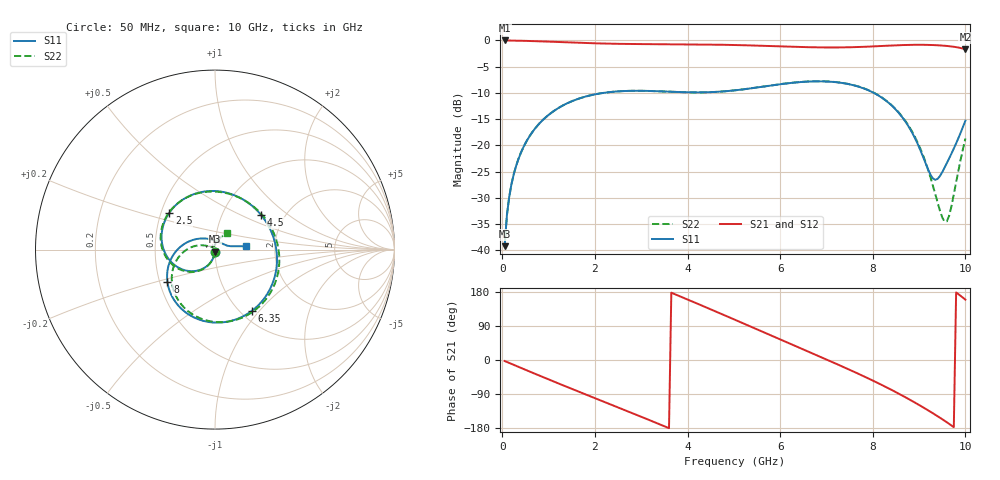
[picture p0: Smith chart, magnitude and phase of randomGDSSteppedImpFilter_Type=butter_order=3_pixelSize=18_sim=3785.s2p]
! freq	dB(S11)	phase(S11)	dB(S12)	phase(S12)
!  dB(S21)	phase(S21)	dB(S22)	phase(S22)
!S-par simulation data
#  GHz  S  DB  R 50
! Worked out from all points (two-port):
!   200 points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, 50 MHz to 10 GHz, reference 50 ohm
!   highest |S21| = -0.01 dB at 50 MHz (marker M1); lowest = -1.7 dB at 10 GHz (marker M2)
!   |S21| within 3 dB of the highest: start of sweep to end of sweep
!   lowest |S11| = -39.2 dB at 50 MHz (marker M3), VSWR 1.02, Z = 50 - j1.09 ohm
!   |S11| at or under -10 dB: start of sweep to 2.183 GHz; 8.022 GHz to end of sweep
!   |S22| runs from -39.2 to -7.8 dB; largest |S21 - S12| = 0
!   S11 on the Smith chart (normalised r, x): 50 MHz: 1.00, -0.02; 2.5 GHz: 0.55, +0.25; 4.5 GHz: 1.52, +0.65; 6.35 GHz: 1.13, -0.91; 8 GHz: 0.55, -0.22; 10 GHz: 1.41, +0.05
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0.05  -39.21 -92.0  -0.01 -2.6  -0.01 -2.6  -39.22 -91.9
0.1  -33.26 -95.0  -0.01 -5.2  -0.01 -5.2  -33.26 -94.8
0.2  -27.32 -100.7  -0.02 -10.4  -0.02 -10.4  -27.32 -100.3
0.5  -19.59 -116.8  -0.08 -25.8  -0.08 -25.8  -19.59 -115.9
1.15  -13.22 -150.6  -0.28 -58.8  -0.28 -58.8  -13.22 -148.4
1.75  -10.82 179.0  -0.48 -88.4  -0.48 -88.4  -10.82 -177.4
2.5  -9.71 141.2  -0.65 -125.1  -0.65 -125.1  -9.71 147.0
3.4  -9.70 94.9  -0.72 -169.8  -0.72 -169.8  -9.70 104.1
3.95  -9.88 65.9  -0.74 162.2  -0.74 162.2  -9.88 77.3
4.5  -9.86 36.8  -0.79 133.7  -0.79 133.7  -9.86 49.8
5.05  -9.49 8.0  -0.88 104.8  -0.88 104.8  -9.49 21.4
5.65  -8.78 -23.0  -1.03 73.0  -1.03 73.0  -8.77 -10.3
6.35  -8.00 -58.6  -1.23 35.8  -1.23 35.8  -7.99 -47.5
6.7  -7.81 -76.5  -1.31 17.3  -1.31 17.3  -7.79 -66.1
7.35  -8.12 -110.1  -1.33 -17.6  -1.33 -17.6  -8.10 -100.6
8  -9.90 -145.9  -1.14 -54.2  -1.14 -54.2  -9.87 -136.2
8.35  -11.95 -167.3  -0.99 -75.4  -0.99 -75.4  -11.89 -156.3
8.95  -19.35 145.5  -0.83 -115.1  -0.83 -115.1  -19.11 169.3
9.3  -26.31 81.4  -0.88 -140.7  -0.88 -140.7  -27.72 153.2
9.55  -24.27 25.7  -1.01 -160.3  -1.01 -160.3  -34.53 128.9
9.65  -22.48 16.3  -1.10 -168.6  -1.10 -168.6  -33.40 103.9
10  -15.30 5.8  -1.68 159.3  -1.68 159.3  -18.69 54.7
